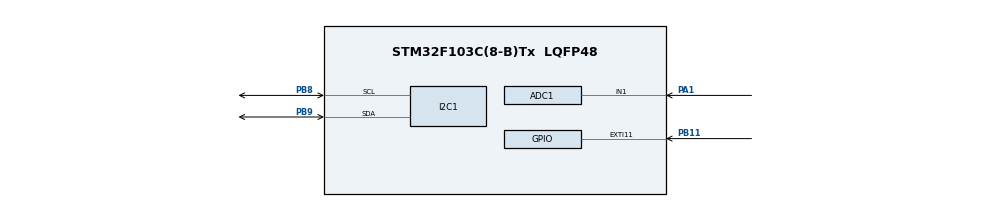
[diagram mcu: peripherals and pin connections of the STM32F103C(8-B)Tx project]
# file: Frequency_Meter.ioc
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ADC1.Channel-0\#ChannelRegularConversion=ADC_CHANNEL_1
ADC1.NbrOfConversionFlag=1
ADC1.Rank-0\#ChannelRegularConversion=1
ADC1.SamplingTime-0\#ChannelRegularConversion=ADC_SAMPLETIME_1CYCLE_5
ADC1.master=1
Mcu.Family=STM32F1
Mcu.Name=STM32F103C(8-B)Tx
Mcu.Package=LQFP48
NVIC.ADC1_2_IRQn=true\:0\:0\:false\:false\:true\:true\:true
NVIC.EXTI15_10_IRQn=true\:0\:0\:false\:false\:true\:true\:true
NVIC.PriorityGroup=NVIC_PRIORITYGROUP_4
NVIC.TIM2_IRQn=true\:0\:0\:false\:false\:true\:true\:true
PA1.Signal=ADCx_IN1
PA13.Mode=Serial_Wire
PA13.Signal=SYS_JTMS-SWDIO
PA14.Mode=Serial_Wire
PA14.Signal=SYS_JTCK-SWCLK
PB11.GPIO_PuPd=GPIO_PULLDOWN
PB11.Signal=GPXTI11
PB8.Mode=I2C
PB8.Signal=I2C1_SCL
PB9.Mode=I2C
PB9.Signal=I2C1_SDA
PC14-OSC32_IN.Mode=LSE-External-Oscillator
PC14-OSC32_IN.Signal=RCC_OSC32_IN
PC15-OSC32_OUT.Mode=LSE-External-Oscillator
PC15-OSC32_OUT.Signal=RCC_OSC32_OUT
PD0-OSC_IN.Mode=HSE-External-Oscillator
PD0-OSC_IN.Signal=RCC_OSC_IN
PD1-OSC_OUT.Mode=HSE-External-Oscillator
PD1-OSC_OUT.Signal=RCC_OSC_OUT
ProjectManager.HeapSize=0x200
ProjectManager.StackSize=0x400
ProjectManager.TargetToolchain=MDK-ARM V5
RCC.APB1Freq_Value=8000000
RCC.APB2Freq_Value=8000000
SH.ADCx_IN1.0=ADC1_IN1,IN1
TIM2.Period=999
TIM2.Prescaler=7999
VP_TIM2_VS_ClockSourceINT.Mode=Internal
board=custom

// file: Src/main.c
/* USER CODE BEGIN Header */
/**
  ******************************************************************************
  * @file           : main.c
  * @brief          : Main program body
  ******************************************************************************
  * @attention
  *
  * <h2><center>&copy; Copyright (c) 2020 STMicroelectronics.
  * All rights reserved.</center></h2>
  *
  * This software component is licensed by ST under BSD 3-Clause license,
  * the "License"; You may not use this file except in compliance with the
  * License. You may obtain a copy of the License at:
  *                        opensource.org/licenses/BSD-3-Clause
  *
  ******************************************************************************
  */
/* USER CODE END Header */

#include "main.h"

/* USER CODE BEGIN Includes */

#include "ssd1306.h"
#include "fonts.h"

/* USER CODE END Includes */

ADC_HandleTypeDef hadc1;

I2C_HandleTypeDef hi2c1;

TIM_HandleTypeDef htim2;

void SystemClock_Config(void);
static void MX_GPIO_Init(void);
static void MX_I2C1_Init(void);
static void MX_ADC1_Init(void);
static void MX_TIM2_Init(void);

/* USER CODE BEGIN 0 */

int display_change_flag = 1;						// Флаг изменений	на дисплее
int counter = 0;
int frequency = 0;
int adc_value = 0;

char str[10];														// Буфер для отображения скважности и времени
char str2[10];

char str3[10];														// Буфер для отображения скважности и времени

int counter_average = 0;
int adc_value_summ = 0;
int adc_value_average = 0;

void ADC_function () {

        HAL_ADC_Start(&hadc1);
        HAL_ADC_PollForConversion(&hadc1,100);
        adc_value = (uint32_t) HAL_ADC_GetValue(&hadc1);
        HAL_ADC_Stop(&hadc1);

				adc_value = (adc_value - 2172) / 4.34;

				if (adc_value < 1)
					adc_value = 0;

				if (adc_value > 100)
					adc_value = 100;

				counter_average++;
				adc_value_summ = adc_value_summ + adc_value;

				if (counter_average == 10) {
					adc_value_average = adc_value_summ / 10;

					counter_average = 0;
					adc_value_summ = 0;

				}

}

void HAL_TIM_PeriodElapsedCallback(TIM_HandleTypeDef *htim) {
    if(htim->Instance == TIM2) {
			display_change_flag = 1;
			frequency = counter * 60;

			counter = 0;

			ADC_function();
		}
}

#include <string.h>

 void reverse(char s[])
 {
     int i, j;
     char c;

     for (i = 0, j = strlen(s)-1; i<j; i++, j--) {
         c = s[i];
         s[i] = s[j];
         s[j] = c;
     }
 }

 void itoa(int n, char s[])
 {
     int i, sign;

     if ((sign = n) < 0)
         n = -n;
     i = 0;
     do {
         s[i++] = n % 10 + '0';
     } while ((n /= 10) > 0);
     if (sign < 0)
         s[i++] = '-';
     s[i] = '\0';
     reverse(s);
 }

 void display_update() {

		if (display_change_flag == 1) {

		ssd1306_Fill(Black);

		display_change_flag = 0;

		itoa(frequency, str);

		itoa(adc_value_average, str3);

		if (frequency < 10) {
			ssd1306_SetCursor(56,0);
		}

		if ((frequency >=10) && (frequency < 100)) {
			ssd1306_SetCursor(48,0);
		}

		if ((frequency >=100) && (frequency < 1000)) {
			ssd1306_SetCursor(40,0);
		}

				if ((frequency >=1000) && (frequency < 10000)) {
			ssd1306_SetCursor(32,0);
		}

				if ((frequency >=10000) && (frequency < 100000)) {
			ssd1306_SetCursor(24,0);
		}

		ssd1306_WriteString(str, Font_16x26, White);

		ssd1306_SetCursor(0,20);
		ssd1306_WriteString(str3, Font_7x10, White);

		if (adc_value_average < 10) {
			ssd1306_SetCursor(7,20);
			ssd1306_WriteString("%", Font_7x10, White);
		}

		if ((adc_value_average < 100) && (adc_value_average > 9)) {
			ssd1306_SetCursor(15,20);
			ssd1306_WriteString("%", Font_7x10, White);
		}

		if (adc_value_average == 100) {
			ssd1306_SetCursor(23,20);
			ssd1306_WriteString("%", Font_7x10, White);
		}

		ssd1306_UpdateScreen();

		}
}

/* USER CODE END 0 */

int main(void)
{

  /* MCU Configuration--------------------------------------------------------*/

  /* Reset of all peripherals, Initializes the Flash interface and the Systick. */
  HAL_Init();

  /* Configure the system clock */
  SystemClock_Config();

  /* Initialize all configured peripherals */
  MX_GPIO_Init();
  MX_I2C1_Init();
  MX_ADC1_Init();
  MX_TIM2_Init();
  /* USER CODE BEGIN 2 */

	HAL_TIM_Base_Start_IT(&htim2);

	ssd1306_Init();

  ssd1306_UpdateScreen();

  HAL_ADC_Start(&hadc1);
  HAL_ADC_PollForConversion(&hadc1,100);
  adc_value = (uint32_t) HAL_ADC_GetValue(&hadc1);
  HAL_ADC_Stop(&hadc1);

	adc_value_average = (adc_value - 2172) / 4.34 - 1;

  /* USER CODE END 2 */

  /* Infinite loop */
  /* USER CODE BEGIN WHILE */
  while (1)
  {

		display_update();
    /* USER CODE END WHILE */

  }
}

void SystemClock_Config(void)
{
  RCC_OscInitTypeDef RCC_OscInitStruct = {0};
  RCC_ClkInitTypeDef RCC_ClkInitStruct = {0};
  RCC_PeriphCLKInitTypeDef PeriphClkInit = {0};

  /** Initializes the CPU, AHB and APB busses clocks
  */
  RCC_OscInitStruct.OscillatorType = RCC_OSCILLATORTYPE_HSI;
  RCC_OscInitStruct.HSIState = RCC_HSI_ON;
  RCC_OscInitStruct.HSICalibrationValue = RCC_HSICALIBRATION_DEFAULT;
  RCC_OscInitStruct.PLL.PLLState = RCC_PLL_NONE;
  if (HAL_RCC_OscConfig(&RCC_OscInitStruct) != HAL_OK)
  {
    Error_Handler();
  }
  /** Initializes the CPU, AHB and APB busses clocks
  */
  RCC_ClkInitStruct.ClockType = RCC_CLOCKTYPE_HCLK|RCC_CLOCKTYPE_SYSCLK
                              |RCC_CLOCKTYPE_PCLK1|RCC_CLOCKTYPE_PCLK2;
  RCC_ClkInitStruct.SYSCLKSource = RCC_SYSCLKSOURCE_HSI;
  RCC_ClkInitStruct.AHBCLKDivider = RCC_SYSCLK_DIV1;
  RCC_ClkInitStruct.APB1CLKDivider = RCC_HCLK_DIV1;
  RCC_ClkInitStruct.APB2CLKDivider = RCC_HCLK_DIV1;

  if (HAL_RCC_ClockConfig(&RCC_ClkInitStruct, FLASH_LATENCY_0) != HAL_OK)
  {
    Error_Handler();
  }
  PeriphClkInit.PeriphClockSelection = RCC_PERIPHCLK_ADC;
  PeriphClkInit.AdcClockSelection = RCC_ADCPCLK2_DIV2;
  if (HAL_RCCEx_PeriphCLKConfig(&PeriphClkInit) != HAL_OK)
  {
    Error_Handler();
  }
}

static void MX_ADC1_Init(void)
{

  ADC_ChannelConfTypeDef sConfig = {0};

  /** Common config
  */
  hadc1.Instance = ADC1;
  hadc1.Init.ScanConvMode = ADC_SCAN_DISABLE;
  hadc1.Init.ContinuousConvMode = DISABLE;
  hadc1.Init.DiscontinuousConvMode = DISABLE;
  hadc1.Init.ExternalTrigConv = ADC_SOFTWARE_START;
  hadc1.Init.DataAlign = ADC_DATAALIGN_RIGHT;
  hadc1.Init.NbrOfConversion = 1;
  if (HAL_ADC_Init(&hadc1) != HAL_OK)
  {
    Error_Handler();
  }
  /** Configure Regular Channel
  */
  sConfig.Channel = ADC_CHANNEL_1;
  sConfig.Rank = ADC_REGULAR_RANK_1;
  sConfig.SamplingTime = ADC_SAMPLETIME_1CYCLE_5;
  if (HAL_ADC_ConfigChannel(&hadc1, &sConfig) != HAL_OK)
  {
    Error_Handler();
  }

}

static void MX_I2C1_Init(void)
{

  hi2c1.Instance = I2C1;
  hi2c1.Init.ClockSpeed = 100000;
  hi2c1.Init.DutyCycle = I2C_DUTYCYCLE_2;
  hi2c1.Init.OwnAddress1 = 0;
  hi2c1.Init.AddressingMode = I2C_ADDRESSINGMODE_7BIT;
  hi2c1.Init.DualAddressMode = I2C_DUALADDRESS_DISABLE;
  hi2c1.Init.OwnAddress2 = 0;
  hi2c1.Init.GeneralCallMode = I2C_GENERALCALL_DISABLE;
  hi2c1.Init.NoStretchMode = I2C_NOSTRETCH_DISABLE;
  if (HAL_I2C_Init(&hi2c1) != HAL_OK)
  {
    Error_Handler();
  }

}

static void MX_TIM2_Init(void)
{

  TIM_ClockConfigTypeDef sClockSourceConfig = {0};
  TIM_MasterConfigTypeDef sMasterConfig = {0};

  htim2.Instance = TIM2;
  htim2.Init.Prescaler = 7999;
  htim2.Init.CounterMode = TIM_COUNTERMODE_UP;
  htim2.Init.Period = 999;
  htim2.Init.ClockDivision = TIM_CLOCKDIVISION_DIV1;
  htim2.Init.AutoReloadPreload = TIM_AUTORELOAD_PRELOAD_DISABLE;
  if (HAL_TIM_Base_Init(&htim2) != HAL_OK)
  {
    Error_Handler();
  }
  sClockSourceConfig.ClockSource = TIM_CLOCKSOURCE_INTERNAL;
  if (HAL_TIM_ConfigClockSource(&htim2, &sClockSourceConfig) != HAL_OK)
  {
    Error_Handler();
  }
  sMasterConfig.MasterOutputTrigger = TIM_TRGO_RESET;
  sMasterConfig.MasterSlaveMode = TIM_MASTERSLAVEMODE_DISABLE;
  if (HAL_TIMEx_MasterConfigSynchronization(&htim2, &sMasterConfig) != HAL_OK)
  {
    Error_Handler();
  }

}

static void MX_GPIO_Init(void)
{
  GPIO_InitTypeDef GPIO_InitStruct = {0};

  /* GPIO Ports Clock Enable */
  __HAL_RCC_GPIOC_CLK_ENABLE();
  __HAL_RCC_GPIOD_CLK_ENABLE();
  __HAL_RCC_GPIOA_CLK_ENABLE();
  __HAL_RCC_GPIOB_CLK_ENABLE();

  /*Configure GPIO pin : PB11 */
  GPIO_InitStruct.Pin = GPIO_PIN_11;
  GPIO_InitStruct.Mode = GPIO_MODE_IT_RISING;
  GPIO_InitStruct.Pull = GPIO_PULLDOWN;
  HAL_GPIO_Init(GPIOB, &GPIO_InitStruct);

  /* EXTI interrupt init*/
  HAL_NVIC_SetPriority(EXTI15_10_IRQn, 0, 0);
  HAL_NVIC_EnableIRQ(EXTI15_10_IRQn);

}

/* USER CODE BEGIN 4 */

void HAL_GPIO_EXTI_Callback(uint16_t GPIO_Pin)

{

	// Обработка прерывания по FALLING PB11 - Кнопка "сварки"

		if (GPIO_Pin == GPIO_PIN_11) {

	//	display_change_flag = 1;
		counter++;

	}	else {

    __NOP();

  }

}

/* USER CODE END 4 */

void Error_Handler(void)
{
}

/************************ (C) COPYRIGHT STMicroelectronics *****END OF FILE****/
